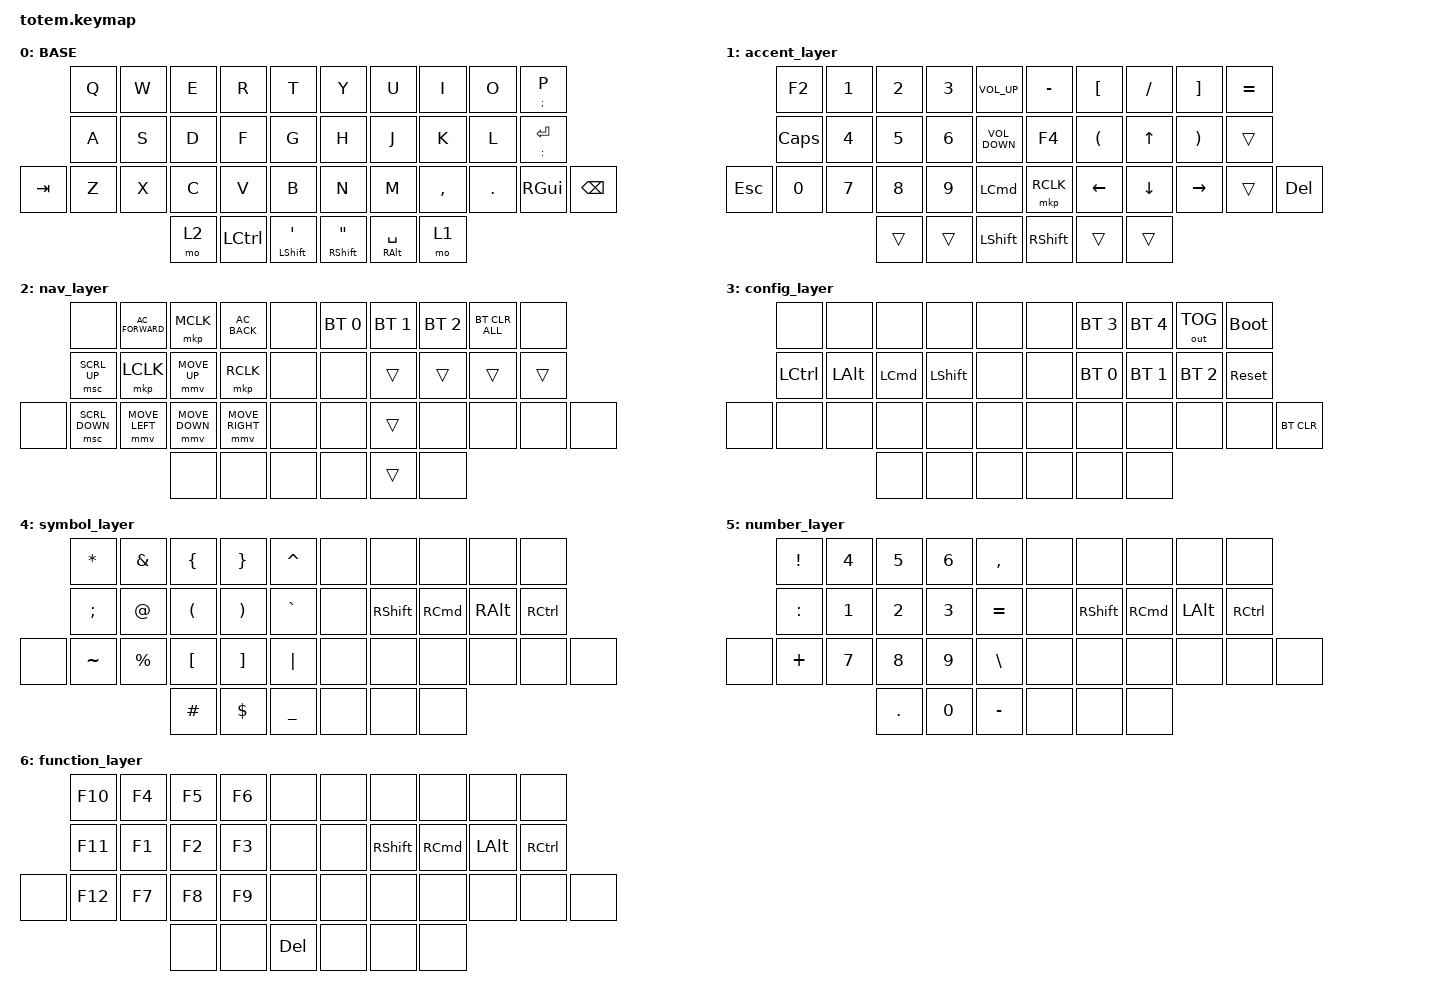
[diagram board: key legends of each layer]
//
//                                                        ▀▀▀▀▀     ▀▀▀▀▀          ▀▀█▀▀
//                                                        ▄▀▀▀▄  ▄  ▄▀▀▀▄  ▄  ▄▀▀▀▄  █  ▄▀▀▀▄
//                                                        █   █  █  █   █  █  █   █  █  █   █
//                                                         ▀▀▀   █   ▀▀▀   █   ▀▀▀   ▀   ▀▀▀
//                                                               █      ▄▄▄█▄▄▄    █   █  
//                                                               ▀      █  █  █     █▄█
//                                                             ▀▀▀▀▀    █  █  █      ▀
//                                                                      ▀  ▀  ▀
//
// ▄▄▄▄▄▄▄▄▄▄▄▄▄▄▄▄▄▄▄▄▄▄▄▄▄▄▄▄▄▄▄▄▄▄▄▄▄▄▄▄▄▄▄▄▄▄▄▄▄▄▄▄▄▄▄▄▄▄▄▄▄▄▄▄▄▄▄▄▄▄▄▄▄▄▄▄▄▄▄▄▄▄▄▄▄▄▄▄▄▄▄▄▄▄▄▄▄▄▄▄▄▄▄▄▄▄▄▄▄▄▄▄▄▄▄▄▄▄▄▄▄▄▄▄▄▄▄▄▄▄▄▄▄▄▄▄▄▄▄▄▄▄▄▄▄▄▄▄▄

#include <dt-bindings/zmk/mouse.h>
#include <behaviors.dtsi>
#include <dt-bindings/zmk/bt.h>
#include <dt-bindings/zmk/keys.h>
#include <dt-bindings/zmk/outputs.h>
#include <dt-bindings/zmk/pointing.h>

#define BASE 0
#define NAV  1
#define SYM  2
#define ADJ  3
#define TVP1 4
#define TVP2 5

&lt {
    flavor = "balanced";
    quick-tap-ms = <175>;
    tapping-term-ms = <280>;
    require-prior-idle-ms = <50>;
};

/ {
    combos {
        compatible = "zmk,combos";

        caps_word {
            bindings = <&caps_word>;
            key-positions = <13 16>;
        };
    };

    macros {
        accent: acute {
            compatible = "zmk,behavior-macro-two-param";
            #binding-cells = <2>;
            bindings =
                <&macro_tap>,
                <&macro_param_1to1 &kp MACRO_PLACEHOLDER>,
                <&macro_tap>,
                <&macro_param_2to1 &kp MACRO_PLACEHOLDER>;

            label = "ACUTE";
        };
    };

    behaviors {
        hml: hml {
            compatible = "zmk,behavior-hold-tap";
            label = "HML";
            bindings = <&kp>, <&kp>;

            #binding-cells = <2>;
            tapping-term-ms = <200>;
            quick-tap-ms = <125>;
            flavor = "hold-preferred";
            hold-trigger-on-release;
            hold-trigger-key-positions = <5 6 7 8 9 15 16 17 18 19 26 27 28 29 30 31 35 36 37 32 33 34>;
            require-prior-idle-ms = <50>;
        };

        hmr: hmr {
            compatible = "zmk,behavior-hold-tap";
            label = "HMR";
            bindings = <&kp>, <&kp>;

            #binding-cells = <2>;
            tapping-term-ms = <280>;
            quick-tap-ms = <175>;
            flavor = "balanced";
            hold-trigger-on-release;
            hold-trigger-key-positions = <0 1 2 3 4 10 11 12 13 14 20 21 22 23 24 25 32 33 34 35 36 37>;
            require-prior-idle-ms = <50>;
        };

        a_acute: a_acute {
            compatible = "zmk,behavior-mod-morph";
            label = "A_ACUTE";
            bindings = <&accent RA(E) A>, <&accent RA(E) LS(A)>;

            #binding-cells = <0>;
            mods = <(MOD_LSFT|MOD_RSFT)>;
        };

        o_acute: o_acute {
            compatible = "zmk,behavior-mod-morph";
            label = "O_ACUTE";
            #binding-cells = <0>;
            mods = <(MOD_LSFT|MOD_RSFT)>;
            bindings = <&accent RA(E) O>, <&accent RA(E) LS(O)>;
        };

        e_acute: e_acute {
            compatible = "zmk,behavior-mod-morph";
            label = "E_ACUTE";
            #binding-cells = <0>;
            mods = <(MOD_LSFT|MOD_RSFT)>;
            bindings = <&accent RA(E) E>, <&accent RA(E) LS(E)>;
        };

        i_acute: i_acute {
            compatible = "zmk,behavior-mod-morph";
            label = "I_ACUTE";
            #binding-cells = <0>;
            mods = <(MOD_LSFT|MOD_RSFT)>;
            bindings = <&accent RA(E) I>, <&accent RA(E) LS(I)>;
        };

        u_acute: u_acute {
            compatible = "zmk,behavior-mod-morph";
            label = "U_ACUTE";
            #binding-cells = <0>;
            mods = <(MOD_LSFT|MOD_RSFT)>;
            bindings = <&accent RA(E) U>, <&accent RA(E) LS(U)>;
        };

        a_tilde: a_tilde {
            compatible = "zmk,behavior-mod-morph";
            label = "A_TILDE";
            #binding-cells = <0>;
            mods = <(MOD_LSFT|MOD_RSFT)>;
            bindings = <&accent RA(N) A>, <&accent RA(N) LS(A)>;
        };

        o_tilde: o_tilde {
            compatible = "zmk,behavior-mod-morph";
            label = "O_TILDE";
            #binding-cells = <0>;
            mods = <(MOD_LSFT|MOD_RSFT)>;
            bindings = <&accent RA(N) O>, <&accent RA(N) LS(O)>;
        };

        a_circ: a_circ {
            compatible = "zmk,behavior-mod-morph";
            label = "A_CIRC";
            #binding-cells = <0>;
            mods = <(MOD_LSFT|MOD_RSFT)>;
            bindings = <&accent RA(I) A>, <&accent RA(I) LS(A)>;
        };

        o_circ: o_circ {
            compatible = "zmk,behavior-mod-morph";
            label = "O_CIRC";
            #binding-cells = <0>;
            mods = <(MOD_LSFT|MOD_RSFT)>;
            bindings = <&accent RA(I) O>, <&accent RA(I) LS(O)>;
        };

        e_circ: e_circ {
            compatible = "zmk,behavior-mod-morph";
            label = "E_CIRC";
            #binding-cells = <0>;
            mods = <(MOD_LSFT|MOD_RSFT)>;
            bindings = <&accent RA(I) E>, <&accent RA(I) LS(E)>;
        };

        a_grave: a_grave {
            compatible = "zmk,behavior-mod-morph";
            label = "A_GRAVE";
            #binding-cells = <0>;
            mods = <(MOD_LSFT|MOD_RSFT)>;
            bindings = <&accent RA(GRAVE) A>, <&accent RA(GRAVE) LS(A)>;
        };
    };

    keymap {
        compatible = "zmk,keymap";

        // ▄▄▄▄▄▄▄▄▄▄▄▄▄▄▄▄▄▄▄▄▄▄▄▄▄▄▄▄▄▄▄▄▄▄▄▄▄▄▄▄▄▄▄▄▄▄▄▄▄▄▄▄▄▄▄▄▄▄▄▄▄▄▄▄▄▄▄▄▄▄▄▄▄▄▄▄▄▄▄▄▄▄▄▄▄▄▄▄▄▄▄▄▄▄▄▄▄▄▄▄▄▄▄▄▄▄▄▄▄▄▄▄▄▄▄▄▄▄▄▄▄▄▄▄▄▄▄▄▄▄▄▄▄▄▄▄▄▄▄▄▄▄▄▄▄▄▄▄▄

        base_layer {
            // ┏━━━━━━━━━━━━━━━━━━━━━━━━━━━━━━━━━━━━━━━┓

            label = "BASE";

            // ┗━━━━━━━━━━━━━━━━━━━━━━━━━━━━━━━━━━━━━━━┛
            //             ┏━━━━━━━━━━━┳━━━━━━━━━━━┳━━━━━━━━━━━┳━━━━━━━━━━━┳━━━━━━━━━━━┓   ┏━━━━━━━━━━━┳━━━━━━━━━━━┳━━━━━━━━━━━┳━━━━━━━━━━━┳━━━━━━━━━━━┓
            //             ┃     Q     ┃     W     ┃     F     ┃     P     ┃     G     ┃   ┃     J     ┃     L     ┃     U     ┃     Y     ┃     ;     ┃
            //             ┣━━━━━━━━━━━╋━━━━━━━━━━━╋━━━━━━━━━━━╋━━━━━━━━━━━╋━━━━━━━━━━━┫   ┣━━━━━━━━━━━╋━━━━━━━━━━━╋━━━━━━━━━━━╋━━━━━━━━━━━╋━━━━━━━━━━━┫
            //             ┃     A     ┃     R     ┃     S     ┃     T     ┃     D     ┃   ┃     H     ┃     N     ┃     E     ┃     I     ┃     O     ┃
            // ┏━━━━━━━━━━━╋━━━━━━━━━━━╋━━━━━━━━━━━╋━━━━━━━━━━━╋━━━━━━━━━━━╋━━━━━━━━━━━┫   ┣━━━━━━━━━━━╋━━━━━━━━━━━╋━━━━━━━━━━━╋━━━━━━━━━━━╋━━━━━━━━━━━╋━━━━━━━━━━━┓
            // ┃     Q     ┃     Z     ┃     X     ┃     C     ┃     V     ┃     B     ┃   ┃     K     ┃     M     ┃     ,     ┃     .     ┃     /     ┃     \     ┃
            // ┗━━━━━━━━━━━┻━━━━━━━━━━━┻━━━━━━━━━━━╋━━━━━━━━━━━╋━━━━━━━━━━━╋━━━━━━━━━━━┫   ┣━━━━━━━━━━━╋━━━━━━━━━━━╋━━━━━━━━━━━╋━━━━━━━━━━━┻━━━━━━━━━━━┻━━━━━━━━━━━┛
            //                                     ┃    DEL    ┃    TAB    ┃    SPC    ┃   ┃   ENTER   ┃           ┃   BSPC    ┃
            //                                     ┗━━━━━━━━━━━┻━━━━━━━━━━━┻━━━━━━━━━━━┛   ┗━━━━━━━━━━━┻━━━━━━━━━━━┻━━━━━━━━━━━┛

            bindings = <
         &kp Q  &kp W  &kp E  &kp R             &kp T              &kp Y                     &kp U                 &kp I      &kp O    &hmr SEMICOLON P
         &kp A  &kp S  &kp D  &kp F             &kp G              &kp H                     &kp J                 &kp K      &kp L    &hml COLON ENTER
&kp TAB  &kp Z  &kp X  &kp C  &kp V             &kp B              &kp N                     &kp M                 &kp COMMA  &kp DOT  &kp RIGHT_GUI     &kp BACKSPACE
                       &mo 2  &kp LEFT_CONTROL  &mt LSHIFT APOS    &mt RSHIFT DOUBLE_QUOTES  &hml RIGHT_ALT SPACE  &mo 1
            >;
        };

        accent_layer {
            bindings = <
         &kp F2    &kp NUMBER_1  &kp NUMBER_2  &kp NUMBER_3  &kp C_VOLUME_UP      &kp MINUS  &kp LEFT_BRACKET      &kp SLASH     &kp RIGHT_BRACKET      &kp EQUAL
         &kp CAPS  &kp NUMBER_4  &kp N5        &kp NUMBER_6  &kp C_VOLUME_DOWN    &kp F4     &kp LEFT_PARENTHESIS  &kp UP_ARROW  &kp RIGHT_PARENTHESIS  &trans
&kp ESC  &kp N0    &kp N7        &kp N8        &kp N9        &kp LCMD             &mkp RCLK  &kp LEFT_ARROW        &kp DOWN      &kp RIGHT              &trans     &kp DELETE
                                 &trans        &trans        &kp LSHFT            &kp RSHFT  &trans                &trans
            >;
        };

        nav_layer {
            bindings = <
       &none           &kp C_AC_FORWARD  &mkp MCLK       &kp C_AC_BACK    &none    &bt BT_SEL 0  &bt BT_SEL 1  &bt BT_SEL 2  &bt BT_CLR_ALL  &none
       &msc SCRL_UP    &mkp LCLK         &mmv MOVE_UP    &mkp RCLK        &none    &none         &trans        &trans        &trans          &trans
&none  &msc SCRL_DOWN  &mmv MOVE_LEFT    &mmv MOVE_DOWN  &mmv MOVE_RIGHT  &none    &none         &trans        &none         &none           &none   &none
                                         &none           &none            &none    &none         &trans        &none
            >;
        };

        config_layer {
            bindings = <
       &none      &none         &none             &none       &none    &none  &bt BT_SEL 3  &bt BT_SEL 4  &out OUT_TOG  &bootloader
       &kp LCTRL  &kp LEFT_ALT  &kp LEFT_COMMAND  &kp LSHIFT  &none    &none  &bt BT_SEL 0  &bt BT_SEL 1  &bt BT_SEL 2  &sys_reset
&none  &none      &none         &none             &none       &none    &none  &none         &none         &none         &none        &bt BT_CLR
                                &none             &none       &none    &none  &none         &none
            >;
        };

        symbol_layer {
            bindings = <
       &kp ASTRK  &kp AMPS   &kp LBRC  &kp RBRC    &kp CARET    &none  &none            &none              &none          &none
       &kp SEMI   &kp AT     &kp LPAR  &kp RPAR    &kp GRAVE    &none  &kp RIGHT_SHIFT  &kp RIGHT_COMMAND  &kp RIGHT_ALT  &kp RCTRL
&none  &kp TILDE  &kp PRCNT  &kp LBKT  &kp RBKT    &kp PIPE     &none  &none            &none              &none          &none      &none
                             &kp HASH  &kp DOLLAR  &kp UNDER    &none  &none            &none
            >;
        };

        number_layer {
            bindings = <
       &kp EXCL   &kp N4  &kp N5   &kp N6  &kp COMMA    &none  &none            &none              &none     &none
       &kp COLON  &kp N1  &kp N2   &kp N3  &kp EQUAL    &none  &kp RIGHT_SHIFT  &kp RIGHT_COMMAND  &kp LALT  &kp RCTRL
&none  &kp PLUS   &kp N7  &kp N8   &kp N9  &kp BSLH     &none  &none            &none              &none     &none      &none
                          &kp DOT  &kp N0  &kp MINUS    &none  &none            &none
            >;
        };

        function_layer {
            bindings = <
       &kp F10  &kp F4  &kp F5  &kp F6  &none      &none  &none            &none              &none     &none
       &kp F11  &kp F1  &kp F2  &kp F3  &none      &none  &kp RIGHT_SHIFT  &kp RIGHT_COMMAND  &kp LALT  &kp RCTRL
&none  &kp F12  &kp F7  &kp F8  &kp F9  &none      &none  &none            &none              &none     &none      &none
                        &none   &none   &kp DEL    &none  &none            &none
            >;
        };

        // ▄▄▄▄▄▄▄▄▄▄▄▄▄▄▄▄▄▄▄▄▄▄▄▄▄▄▄▄▄▄▄▄▄▄▄▄▄▄▄▄▄▄▄▄▄▄▄▄▄▄▄▄▄▄▄▄▄▄▄▄▄▄▄▄▄▄▄▄▄▄▄▄▄▄▄▄▄▄▄▄▄▄▄▄▄▄▄▄▄▄▄▄▄▄▄▄▄▄▄▄▄▄▄▄▄▄▄▄▄▄▄▄▄▄▄▄▄▄▄▄▄▄▄▄▄▄▄▄▄▄▄▄▄▄▄▄▄▄▄▄▄▄▄▄▄▄▄▄▄
        // ▄▄▄▄▄▄▄▄▄▄▄▄▄▄▄▄▄▄▄▄▄▄▄▄▄▄▄▄▄▄▄▄▄▄▄▄▄▄▄▄▄▄▄▄▄▄▄▄▄▄▄▄▄▄▄▄▄▄▄▄▄▄▄▄▄▄▄▄▄▄▄▄▄▄▄▄▄▄▄▄▄▄▄▄▄▄▄▄▄▄▄▄▄▄▄▄▄▄▄▄▄▄▄▄▄▄▄▄▄▄▄▄▄▄▄▄▄▄▄▄▄▄▄▄▄▄▄▄▄▄▄▄▄▄▄▄▄▄▄▄▄▄▄▄▄▄▄▄▄
        // ▄▄▄▄▄▄▄▄▄▄▄▄▄▄▄▄▄▄▄▄▄▄▄▄▄▄▄▄▄▄▄▄▄▄▄▄▄▄▄▄▄▄▄▄▄▄▄▄▄▄▄▄▄▄▄▄▄▄▄▄▄▄▄▄▄▄▄▄▄▄▄▄▄▄▄▄▄▄▄▄▄▄▄▄▄▄▄▄▄▄▄▄▄▄▄▄▄▄▄▄▄▄▄▄▄▄▄▄▄▄▄▄▄▄▄▄▄▄▄▄▄▄▄▄▄▄▄▄▄▄▄▄▄▄▄▄▄▄▄▄▄▄▄▄▄▄▄▄▄
        // ▄▄▄▄▄▄▄▄▄▄▄▄▄▄▄▄▄▄▄▄▄▄▄▄▄▄▄▄▄▄▄▄▄▄▄▄▄▄▄▄▄▄▄▄▄▄▄▄▄▄▄▄▄▄▄▄▄▄▄▄▄▄▄▄▄▄▄▄▄▄▄▄▄▄▄▄▄▄▄▄▄▄▄▄▄▄▄▄▄▄▄▄▄▄▄▄▄▄▄▄▄▄▄▄▄▄▄▄▄▄▄▄▄▄▄▄▄▄▄▄▄▄▄▄▄▄▄▄▄▄▄▄▄▄▄▄▄▄▄▄▄▄▄▄▄▄▄▄▄
        // ▄▄▄▄▄▄▄▄▄▄▄▄▄▄▄▄▄▄▄▄▄▄▄▄▄▄▄▄▄▄▄▄▄▄▄▄▄▄▄▄▄▄▄▄▄▄▄▄▄▄▄▄▄▄▄▄▄▄▄▄▄▄▄▄▄▄▄▄▄▄▄▄▄▄▄▄▄▄▄▄▄▄▄▄▄▄▄▄▄▄▄▄▄▄▄▄▄▄▄▄▄▄▄▄▄▄▄▄▄▄▄▄▄▄▄▄▄▄▄▄▄▄▄▄▄▄▄▄▄▄▄▄▄▄▄▄▄▄▄▄▄▄▄▄▄▄▄▄▄
    };
};
